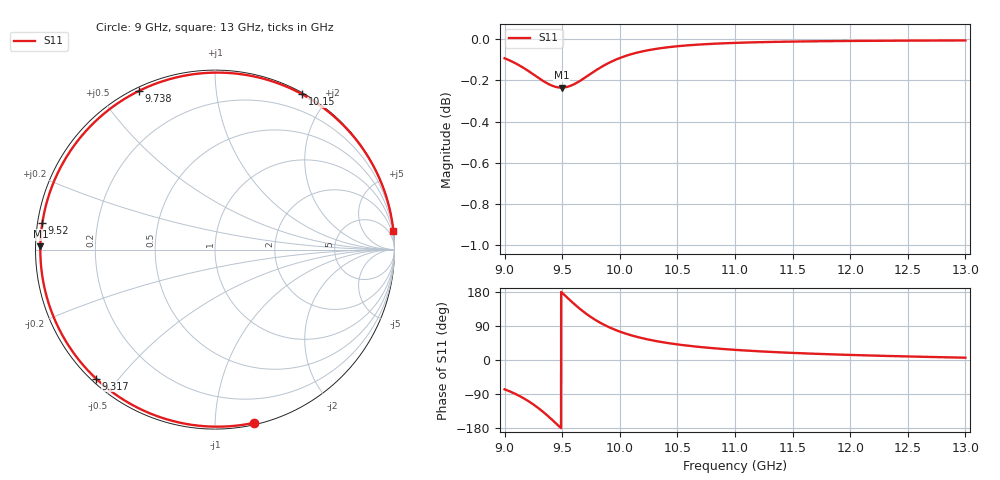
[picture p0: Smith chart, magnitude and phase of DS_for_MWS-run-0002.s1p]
! TOUCHSTONE file generated by CST DESIGN STUDIO
! Date and time: Tue Feb  4 12:24:00 2025
! Project name: C:\Work\MatlabApps\UnitCellOptimizationMatlab\CST\unitcell.cst
! Tree item: Tasks\Sweep1\SPara1\S-Parameters
! Header version: 2024
! Port assignment regex: !\s*Touchstone port\s*([0-9]+)\s*=\s*(CST MWS port|CST DES external port|CST DES block port)\s*(.+)\s* \(\"(.*)\"\)(\s*mode\s*([0-9]+))?.*
! Touchstone port assignment:
! Touchstone port 1 = CST DES external port 1 ("")
# GHz S MA R 50
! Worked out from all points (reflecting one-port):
!   4001 points, 9 GHz to 13 GHz, reference 50 ohm
!   lowest |S11| = -0.2 dB at 9.494 GHz (marker M1), VSWR 73.86, Z = 0.677 + j0.484 ohm
!   phase of S11 starts at -77 deg and turns -277 deg over the sweep
!   S11 on the Smith chart (normalised r, x): 9 GHz: 0.01, -1.25; 9.317 GHz: 0.01, -0.44; 9.52 GHz: 0.01, +0.08; 9.738 GHz: 0.01, +0.63; 10.15 GHz: 0.01, +1.71; 13 GHz: 0, +19
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9  0.9894 -77.3
9.081  0.9871 -87.7
9.181  0.9834 -103.8
9.252  0.9804 -117.8
9.317  0.9776 -132.6
9.364  0.9758 -144.6
9.413  0.9743 -157.9
9.454  0.9735 -169.5
9.494  0.9733 178.9
9.5  0.9733 177.2
9.52  0.9734 171.4
9.573  0.9743 156.3
9.633  0.9762 140.2
9.685  0.9782 127.4
9.738  0.9805 115.7
9.792  0.9827 105.0
9.851  0.985 94.9
9.925  0.9875 84.1
10  0.9895 75.0
10.154  0.9926 60.6
10.311  0.9946 50.2
10.5  0.9961 41.2
10.722  0.9972 33.5
11  0.998 26.8
11.5  0.9987 18.7
12  0.999 13.4
12.5  0.9992 9.4
13  0.9993 6.1
